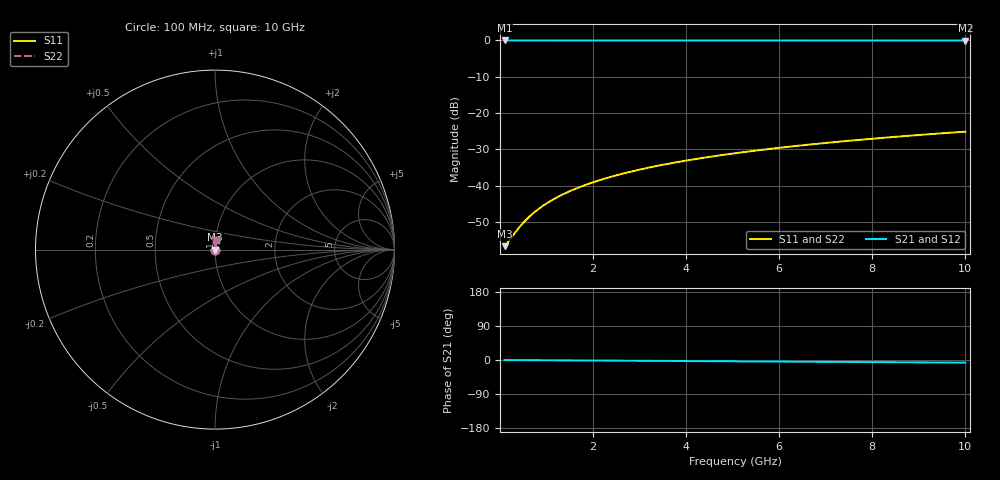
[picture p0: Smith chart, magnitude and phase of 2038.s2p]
# Hz S RI R 50.00
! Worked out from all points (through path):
!   100 points, 100 MHz to 10 GHz, reference 50 ohm
!   highest |S21| = -0.01 dB at 100 MHz (marker M1); lowest = 0.0 dB at 10 GHz (marker M2)
!   lowest |S11| = -56.6 dB at 100 MHz (marker M3), VSWR 1.00, Z = 50.1 + j0.0555 ohm
!   |S11| at or under -10 dB: start of sweep to end of sweep
!   |S22| runs from -56.6 to -25.1 dB; largest |S21 - S12| = 0
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1e8  0.00137 0.000553  0.9986 -0.0012  0.9986 -0.0012  0.00137 0.000553
2e8  0.00138 0.00111  0.9986 -0.00241  0.9986 -0.00241  0.00138 0.00111
4e8  0.0014 0.00221  0.9986 -0.00481  0.9986 -0.00481  0.0014 0.00221
5e8  0.00141 0.00277  0.9986 -0.00601  0.9986 -0.00601  0.00141 0.00277
6e8  0.00143 0.00332  0.9986 -0.00722  0.9986 -0.00722  0.00143 0.00332
7e8  0.00144 0.00387  0.9985 -0.00842  0.9985 -0.00842  0.00144 0.00387
8e8  0.00145 0.00443  0.9985 -0.00962  0.9985 -0.00962  0.00145 0.00443
1e9  0.00148 0.00553  0.9985 -0.012  0.9985 -0.012  0.00148 0.00553
1.2e9  0.00151 0.00664  0.9984 -0.0144  0.9984 -0.0144  0.00151 0.00664
1.5e9  0.00158 0.0083  0.9984 -0.018  0.9984 -0.018  0.00158 0.0083
1.8e9  0.00165 0.00996  0.9983 -0.0217  0.9983 -0.0217  0.00165 0.00996
2.1e9  0.00173 0.0116  0.9982 -0.0253  0.9982 -0.0253  0.00173 0.0116
2.5e9  0.00186 0.0138  0.998 -0.0301  0.998 -0.0301  0.00186 0.0138
2.9e9  0.00201 0.016  0.9978 -0.0349  0.9978 -0.0349  0.00201 0.016
3.4e9  0.00223 0.0188  0.9975 -0.0409  0.9975 -0.0409  0.00223 0.0188
4.2e9  0.00264 0.0232  0.997 -0.0505  0.997 -0.0505  0.00264 0.0232
5.1e9  0.00321 0.0282  0.9962 -0.0614  0.9962 -0.0614  0.00321 0.0282
5.9e9  0.00381 0.0326  0.9954 -0.071  0.9954 -0.071  0.00381 0.0326
6.7e9  0.00449 0.037  0.9945 -0.0806  0.9945 -0.0806  0.00449 0.037
7.5e9  0.00526 0.0413  0.9935 -0.0903  0.9935 -0.0903  0.00526 0.0413
8.4e9  0.00623 0.0463  0.9922 -0.1011  0.9922 -0.1011  0.00623 0.0463
1e10  0.00822 0.055  0.9896 -0.1203  0.9896 -0.1203  0.00822 0.055
